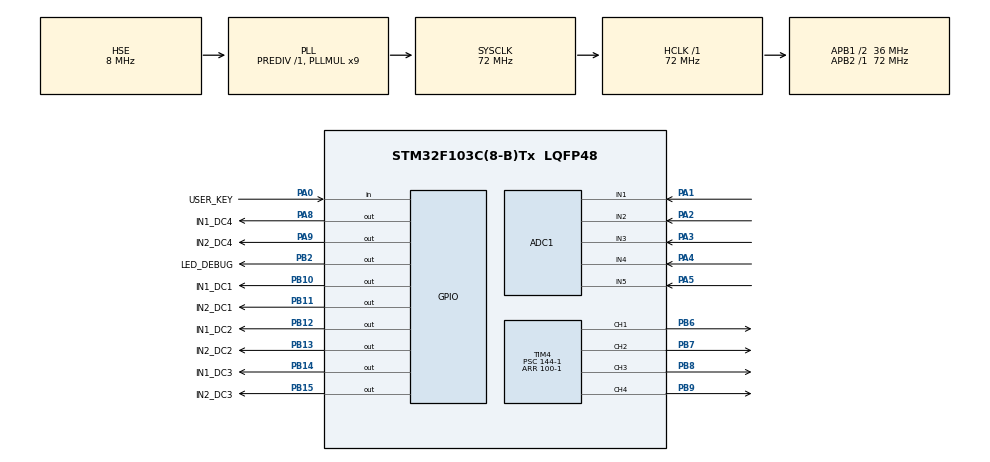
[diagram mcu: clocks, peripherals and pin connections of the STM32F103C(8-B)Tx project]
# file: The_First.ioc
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ADC1.Channel-0\#ChannelRegularConversion=ADC_CHANNEL_1
ADC1.Channel-1\#ChannelRegularConversion=ADC_CHANNEL_2
ADC1.Channel-2\#ChannelRegularConversion=ADC_CHANNEL_3
ADC1.Channel-3\#ChannelRegularConversion=ADC_CHANNEL_4
ADC1.Channel-4\#ChannelRegularConversion=ADC_CHANNEL_5
ADC1.NbrOfConversion=5
ADC1.NbrOfConversionFlag=1
ADC1.Rank-0\#ChannelRegularConversion=1
ADC1.Rank-1\#ChannelRegularConversion=2
ADC1.Rank-2\#ChannelRegularConversion=3
ADC1.Rank-3\#ChannelRegularConversion=4
ADC1.Rank-4\#ChannelRegularConversion=5
ADC1.SamplingTime-0\#ChannelRegularConversion=ADC_SAMPLETIME_28CYCLES_5
ADC1.SamplingTime-1\#ChannelRegularConversion=ADC_SAMPLETIME_28CYCLES_5
ADC1.SamplingTime-2\#ChannelRegularConversion=ADC_SAMPLETIME_28CYCLES_5
ADC1.SamplingTime-3\#ChannelRegularConversion=ADC_SAMPLETIME_28CYCLES_5
ADC1.SamplingTime-4\#ChannelRegularConversion=ADC_SAMPLETIME_28CYCLES_5
ADC1.master=1
Dma.ADC1.0.Direction=DMA_PERIPH_TO_MEMORY
Dma.ADC1.0.Instance=DMA1_Channel1
Dma.ADC1.0.MemDataAlignment=DMA_MDATAALIGN_HALFWORD
Dma.ADC1.0.MemInc=DMA_MINC_ENABLE
Dma.ADC1.0.Mode=DMA_CIRCULAR
Dma.ADC1.0.PeriphDataAlignment=DMA_PDATAALIGN_HALFWORD
Dma.ADC1.0.PeriphInc=DMA_PINC_DISABLE
Dma.ADC1.0.Priority=DMA_PRIORITY_LOW
Dma.Request0=ADC1
Mcu.Family=STM32F1
Mcu.Name=STM32F103C(8-B)Tx
Mcu.Package=LQFP48
NVIC.DMA1_Channel1_IRQn=true\:0\:0\:false\:false\:true\:false\:true
NVIC.PriorityGroup=NVIC_PRIORITYGROUP_4
NVIC.TIM2_IRQn=true\:0\:0\:false\:false\:true\:true\:true
PA0-WKUP.GPIO_Label=USER_KEY
PA0-WKUP.GPIO_PuPd=GPIO_PULLDOWN
PA0-WKUP.Signal=GPIO_Input
PA1.Signal=ADCx_IN1
PA13.Mode=Serial_Wire
PA13.Signal=SYS_JTMS-SWDIO
PA14.Mode=Serial_Wire
PA14.Signal=SYS_JTCK-SWCLK
PA2.Signal=ADCx_IN2
PA3.Signal=ADCx_IN3
PA4.Signal=ADCx_IN4
PA5.Signal=ADCx_IN5
PA8.GPIO_Label=IN1_DC4
PA8.Signal=GPIO_Output
PA9.GPIO_Label=IN2_DC4
PA9.Signal=GPIO_Output
PB10.GPIO_Label=IN1_DC1
PB10.Signal=GPIO_Output
PB11.GPIO_Label=IN2_DC1
PB11.Signal=GPIO_Output
PB12.GPIO_Label=IN1_DC2
PB12.Signal=GPIO_Output
PB13.GPIO_Label=IN2_DC2
PB13.Signal=GPIO_Output
PB14.GPIO_Label=IN1_DC3
PB14.Signal=GPIO_Output
PB15.GPIO_Label=IN2_DC3
PB15.Signal=GPIO_Output
PB2.GPIO_Label=LED_DEBUG
PB2.Signal=GPIO_Output
PB6.Signal=S_TIM4_CH1
PB7.Signal=S_TIM4_CH2
PB8.Signal=S_TIM4_CH3
PB9.Signal=S_TIM4_CH4
PD0-OSC_IN.Mode=HSE-External-Oscillator
PD0-OSC_IN.Signal=RCC_OSC_IN
PD1-OSC_OUT.Mode=HSE-External-Oscillator
PD1-OSC_OUT.Signal=RCC_OSC_OUT
ProjectManager.HeapSize=0x200
ProjectManager.StackSize=0x400
ProjectManager.TargetToolchain=STM32CubeIDE
RCC.ADCPresc=RCC_ADCPCLK2_DIV6
RCC.AHBFreq_Value=72000000
RCC.APB1CLKDivider=RCC_HCLK_DIV2
RCC.APB1Freq_Value=36000000
RCC.APB1TimFreq_Value=72000000
RCC.APB2Freq_Value=72000000
RCC.APB2TimFreq_Value=72000000
RCC.HCLKFreq_Value=72000000
RCC.PLLMUL=RCC_PLL_MUL9
RCC.PLLSourceVirtual=RCC_PLLSOURCE_HSE
RCC.SYSCLKFreq_VALUE=72000000
RCC.SYSCLKSource=RCC_SYSCLKSOURCE_PLLCLK
RCC.USBFreq_Value=72000000
SH.ADCx_IN1.0=ADC1_IN1,IN1
SH.ADCx_IN2.0=ADC1_IN2,IN2
SH.ADCx_IN3.0=ADC1_IN3,IN3
SH.ADCx_IN4.0=ADC1_IN4,IN4
SH.ADCx_IN5.0=ADC1_IN5,IN5
SH.S_TIM4_CH1.0=TIM4_CH1,PWM Generation1 CH1
SH.S_TIM4_CH2.0=TIM4_CH2,PWM Generation2 CH2
SH.S_TIM4_CH3.0=TIM4_CH3,PWM Generation3 CH3
SH.S_TIM4_CH4.0=TIM4_CH4,PWM Generation4 CH4
TIM2.Period=100-1
TIM2.Prescaler=720-1
TIM4.Channel-PWM\ Generation1\ CH1=TIM_CHANNEL_1
TIM4.Channel-PWM\ Generation2\ CH2=TIM_CHANNEL_2
TIM4.Channel-PWM\ Generation3\ CH3=TIM_CHANNEL_3
TIM4.Channel-PWM\ Generation4\ CH4=TIM_CHANNEL_4
TIM4.Period=100-1
TIM4.Prescaler=144-1
VP_TIM2_VS_ClockSourceINT.Mode=Internal
VP_TIM4_VS_ClockSourceINT.Mode=Internal
board=custom

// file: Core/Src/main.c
/* USER CODE BEGIN Header */
/**
  ******************************************************************************
  * @file           : main.c
  * @brief          : Main program body
  ******************************************************************************
  * @attention
  *
  * <h2><center>&copy; Copyright (c) 6024 STMicroelectronics.
  * All rights reserved.</center></h2>
  *
  * This software component is licensed by ST under BSD 3-Clause license,
  * the "License"; You may not use this file except in compliance with the
  * License. You may obtain a copy of the License at:
  *                        opensource.org/licenses/BSD-3-Clause
  *
  ******************************************************************************
  */
/* USER CODE END Header */
#include "main.h"

/* USER CODE BEGIN Includes */
#include "software_timer.h"
#include "move_driver.h"
/* USER CODE END Includes */

/* USER CODE BEGIN PM */
#define		ERROR_RANGE		100

#define		CALIB			90
#define 	FORWARD_1 		100
#define 	FORWARD_2 		101
#define 	FORWARD_3 		102
#define 	READYSTEP2		103
#define 	TURNLEFT		104
#define 	TURNRIGHT		105
#define 	FORWARD			106
#define 	BACKWARD		107
#define 	STOP			108
#define 	READYLEFT		109
#define 	READYRIGHT		110
#define 	READYFORWARD	111
#define 	READYBACKWARDS	112
#define 	READYBACKWARDS2	117
#define 	ENDLEFT			113
#define 	ENDRIGHT		114
#define 	ENDWARDS		115
#define 	START			116
#define 	ENDBACK			118

/* USER CODE END PM */

ADC_HandleTypeDef hadc1;
DMA_HandleTypeDef hdma_adc1;

TIM_HandleTypeDef htim2;
TIM_HandleTypeDef htim4;

/* USER CODE BEGIN PV */
uint8_t status = CALIB;
uint8_t temp_status = FORWARD_1;
//uint8_t temp_status = FORWARD_1;
uint8_t step = 0;
uint8_t count = 0;
uint8_t arr[50] = "FRFLFRFRFFRFFR\0";
uint8_t index = 0;
uint16_t sensor_value[5];
uint16_t sensor_calib[5];
int sensor_buffer = 0;
int led_count = 0;
int led_cycle = 25;
int button_count = 0;
/* USER CODE END PV */

void SystemClock_Config(void);
static void MX_GPIO_Init(void);
static void MX_DMA_Init(void);
static void MX_ADC1_Init(void);
static void MX_TIM2_Init(void);
static void MX_TIM4_Init(void);
/* USER CODE BEGIN PFP */
void buttonScan();
void sensorScan();
void ledBlink();
uint8_t checkLine();
uint8_t checkStatus();
void sensorCalib();
void lineSet();
void test();
/* USER CODE END PFP */

int main(void)
{

  /* MCU Configuration--------------------------------------------------------*/

  /* Reset of all peripherals, Initializes the Flash interface and the Systick. */
  HAL_Init();

  /* Configure the system clock */
  SystemClock_Config();

  /* Initialize all configured peripherals */
  MX_GPIO_Init();
  MX_DMA_Init();
  MX_ADC1_Init();
  MX_TIM2_Init();
  MX_TIM4_Init();
  /* USER CODE BEGIN 2 */
  HAL_TIM_Base_Start_IT(&htim2);
  HAL_TIM_PWM_Start(&htim4, TIM_CHANNEL_1);
  HAL_TIM_PWM_Start(&htim4, TIM_CHANNEL_2);
  HAL_TIM_PWM_Start(&htim4, TIM_CHANNEL_3);
  HAL_TIM_PWM_Start(&htim4, TIM_CHANNEL_4);
  /* USER CODE END 2 */

  /* Infinite loop */
  /* USER CODE BEGIN WHILE */
  setTimer(1,10);
  while (1)
  {
	  if(timer_flag[1]){
		  setTimer(1,10);
		  buttonScan();
//		  sensorScan();
		  checkLine();
		  lineSet();
//		  forward();
//		  backwards();
		  ledBlink();
	  }
    /* USER CODE END WHILE */

  }
}

void SystemClock_Config(void)
{
  RCC_OscInitTypeDef RCC_OscInitStruct = {0};
  RCC_ClkInitTypeDef RCC_ClkInitStruct = {0};
  RCC_PeriphCLKInitTypeDef PeriphClkInit = {0};

  /** Initializes the RCC Oscillators according to the specified parameters
  * in the RCC_OscInitTypeDef structure.
  */
  RCC_OscInitStruct.OscillatorType = RCC_OSCILLATORTYPE_HSE;
  RCC_OscInitStruct.HSEState = RCC_HSE_ON;
  RCC_OscInitStruct.HSEPredivValue = RCC_HSE_PREDIV_DIV1;
  RCC_OscInitStruct.HSIState = RCC_HSI_ON;
  RCC_OscInitStruct.PLL.PLLState = RCC_PLL_ON;
  RCC_OscInitStruct.PLL.PLLSource = RCC_PLLSOURCE_HSE;
  RCC_OscInitStruct.PLL.PLLMUL = RCC_PLL_MUL9;
  if (HAL_RCC_OscConfig(&RCC_OscInitStruct) != HAL_OK)
  {
    Error_Handler();
  }
  /** Initializes the CPU, AHB and APB buses clocks
  */
  RCC_ClkInitStruct.ClockType = RCC_CLOCKTYPE_HCLK|RCC_CLOCKTYPE_SYSCLK
                              |RCC_CLOCKTYPE_PCLK1|RCC_CLOCKTYPE_PCLK2;
  RCC_ClkInitStruct.SYSCLKSource = RCC_SYSCLKSOURCE_PLLCLK;
  RCC_ClkInitStruct.AHBCLKDivider = RCC_SYSCLK_DIV1;
  RCC_ClkInitStruct.APB1CLKDivider = RCC_HCLK_DIV2;
  RCC_ClkInitStruct.APB2CLKDivider = RCC_HCLK_DIV1;

  if (HAL_RCC_ClockConfig(&RCC_ClkInitStruct, FLASH_LATENCY_2) != HAL_OK)
  {
    Error_Handler();
  }
  PeriphClkInit.PeriphClockSelection = RCC_PERIPHCLK_ADC;
  PeriphClkInit.AdcClockSelection = RCC_ADCPCLK2_DIV6;
  if (HAL_RCCEx_PeriphCLKConfig(&PeriphClkInit) != HAL_OK)
  {
    Error_Handler();
  }
}

static void MX_ADC1_Init(void)
{

  ADC_ChannelConfTypeDef sConfig = {0};

  /** Common config
  */
  hadc1.Instance = ADC1;
  hadc1.Init.ScanConvMode = ADC_SCAN_ENABLE;
  hadc1.Init.ContinuousConvMode = DISABLE;
  hadc1.Init.DiscontinuousConvMode = DISABLE;
  hadc1.Init.ExternalTrigConv = ADC_SOFTWARE_START;
  hadc1.Init.DataAlign = ADC_DATAALIGN_RIGHT;
  hadc1.Init.NbrOfConversion = 5;
  if (HAL_ADC_Init(&hadc1) != HAL_OK)
  {
    Error_Handler();
  }
  /** Configure Regular Channel
  */
  sConfig.Channel = ADC_CHANNEL_1;
  sConfig.Rank = ADC_REGULAR_RANK_1;
  sConfig.SamplingTime = ADC_SAMPLETIME_28CYCLES_5;
  if (HAL_ADC_ConfigChannel(&hadc1, &sConfig) != HAL_OK)
  {
    Error_Handler();
  }
  /** Configure Regular Channel
  */
  sConfig.Channel = ADC_CHANNEL_2;
  sConfig.Rank = ADC_REGULAR_RANK_2;
  if (HAL_ADC_ConfigChannel(&hadc1, &sConfig) != HAL_OK)
  {
    Error_Handler();
  }
  /** Configure Regular Channel
  */
  sConfig.Channel = ADC_CHANNEL_3;
  sConfig.Rank = ADC_REGULAR_RANK_3;
  if (HAL_ADC_ConfigChannel(&hadc1, &sConfig) != HAL_OK)
  {
    Error_Handler();
  }
  /** Configure Regular Channel
  */
  sConfig.Channel = ADC_CHANNEL_4;
  sConfig.Rank = ADC_REGULAR_RANK_4;
  if (HAL_ADC_ConfigChannel(&hadc1, &sConfig) != HAL_OK)
  {
    Error_Handler();
  }
  /** Configure Regular Channel
  */
  sConfig.Channel = ADC_CHANNEL_5;
  sConfig.Rank = ADC_REGULAR_RANK_5;
  if (HAL_ADC_ConfigChannel(&hadc1, &sConfig) != HAL_OK)
  {
    Error_Handler();
  }

}

static void MX_TIM2_Init(void)
{

  TIM_ClockConfigTypeDef sClockSourceConfig = {0};
  TIM_MasterConfigTypeDef sMasterConfig = {0};

  htim2.Instance = TIM2;
  htim2.Init.Prescaler = 720-1;
  htim2.Init.CounterMode = TIM_COUNTERMODE_UP;
  htim2.Init.Period = 100-1;
  htim2.Init.ClockDivision = TIM_CLOCKDIVISION_DIV1;
  htim2.Init.AutoReloadPreload = TIM_AUTORELOAD_PRELOAD_DISABLE;
  if (HAL_TIM_Base_Init(&htim2) != HAL_OK)
  {
    Error_Handler();
  }
  sClockSourceConfig.ClockSource = TIM_CLOCKSOURCE_INTERNAL;
  if (HAL_TIM_ConfigClockSource(&htim2, &sClockSourceConfig) != HAL_OK)
  {
    Error_Handler();
  }
  sMasterConfig.MasterOutputTrigger = TIM_TRGO_RESET;
  sMasterConfig.MasterSlaveMode = TIM_MASTERSLAVEMODE_DISABLE;
  if (HAL_TIMEx_MasterConfigSynchronization(&htim2, &sMasterConfig) != HAL_OK)
  {
    Error_Handler();
  }

}

static void MX_TIM4_Init(void)
{

  TIM_ClockConfigTypeDef sClockSourceConfig = {0};
  TIM_MasterConfigTypeDef sMasterConfig = {0};
  TIM_OC_InitTypeDef sConfigOC = {0};

  htim4.Instance = TIM4;
  htim4.Init.Prescaler = 144-1;
  htim4.Init.CounterMode = TIM_COUNTERMODE_UP;
  htim4.Init.Period = 100-1;
  htim4.Init.ClockDivision = TIM_CLOCKDIVISION_DIV1;
  htim4.Init.AutoReloadPreload = TIM_AUTORELOAD_PRELOAD_DISABLE;
  if (HAL_TIM_Base_Init(&htim4) != HAL_OK)
  {
    Error_Handler();
  }
  sClockSourceConfig.ClockSource = TIM_CLOCKSOURCE_INTERNAL;
  if (HAL_TIM_ConfigClockSource(&htim4, &sClockSourceConfig) != HAL_OK)
  {
    Error_Handler();
  }
  if (HAL_TIM_PWM_Init(&htim4) != HAL_OK)
  {
    Error_Handler();
  }
  sMasterConfig.MasterOutputTrigger = TIM_TRGO_RESET;
  sMasterConfig.MasterSlaveMode = TIM_MASTERSLAVEMODE_DISABLE;
  if (HAL_TIMEx_MasterConfigSynchronization(&htim4, &sMasterConfig) != HAL_OK)
  {
    Error_Handler();
  }
  sConfigOC.OCMode = TIM_OCMODE_PWM1;
  sConfigOC.Pulse = 0;
  sConfigOC.OCPolarity = TIM_OCPOLARITY_HIGH;
  sConfigOC.OCFastMode = TIM_OCFAST_DISABLE;
  if (HAL_TIM_PWM_ConfigChannel(&htim4, &sConfigOC, TIM_CHANNEL_1) != HAL_OK)
  {
    Error_Handler();
  }
  if (HAL_TIM_PWM_ConfigChannel(&htim4, &sConfigOC, TIM_CHANNEL_2) != HAL_OK)
  {
    Error_Handler();
  }
  if (HAL_TIM_PWM_ConfigChannel(&htim4, &sConfigOC, TIM_CHANNEL_3) != HAL_OK)
  {
    Error_Handler();
  }
  if (HAL_TIM_PWM_ConfigChannel(&htim4, &sConfigOC, TIM_CHANNEL_4) != HAL_OK)
  {
    Error_Handler();
  }
  HAL_TIM_MspPostInit(&htim4);

}

static void MX_DMA_Init(void)
{

  /* DMA controller clock enable */
  __HAL_RCC_DMA1_CLK_ENABLE();

  /* DMA interrupt init */
  /* DMA1_Channel1_IRQn interrupt configuration */
  HAL_NVIC_SetPriority(DMA1_Channel1_IRQn, 0, 0);
  HAL_NVIC_EnableIRQ(DMA1_Channel1_IRQn);

}

static void MX_GPIO_Init(void)
{
  GPIO_InitTypeDef GPIO_InitStruct = {0};

  /* GPIO Ports Clock Enable */
  __HAL_RCC_GPIOD_CLK_ENABLE();
  __HAL_RCC_GPIOA_CLK_ENABLE();
  __HAL_RCC_GPIOB_CLK_ENABLE();

  /*Configure GPIO pin Output Level */
  HAL_GPIO_WritePin(GPIOB, LED_DEBUG_Pin|IN1_DC1_Pin|IN2_DC1_Pin|IN1_DC2_Pin
                          |IN2_DC2_Pin|IN1_DC3_Pin|IN2_DC3_Pin, GPIO_PIN_RESET);

  /*Configure GPIO pin Output Level */
  HAL_GPIO_WritePin(GPIOA, IN1_DC4_Pin|IN2_DC4_Pin, GPIO_PIN_RESET);

  /*Configure GPIO pin : USER_KEY_Pin */
  GPIO_InitStruct.Pin = USER_KEY_Pin;
  GPIO_InitStruct.Mode = GPIO_MODE_INPUT;
  GPIO_InitStruct.Pull = GPIO_PULLDOWN;
  HAL_GPIO_Init(USER_KEY_GPIO_Port, &GPIO_InitStruct);

  /*Configure GPIO pins : LED_DEBUG_Pin IN1_DC1_Pin IN2_DC1_Pin IN1_DC2_Pin
                           IN2_DC2_Pin IN1_DC3_Pin IN2_DC3_Pin */
  GPIO_InitStruct.Pin = LED_DEBUG_Pin|IN1_DC1_Pin|IN2_DC1_Pin|IN1_DC2_Pin
                          |IN2_DC2_Pin|IN1_DC3_Pin|IN2_DC3_Pin;
  GPIO_InitStruct.Mode = GPIO_MODE_OUTPUT_PP;
  GPIO_InitStruct.Pull = GPIO_NOPULL;
  GPIO_InitStruct.Speed = GPIO_SPEED_FREQ_LOW;
  HAL_GPIO_Init(GPIOB, &GPIO_InitStruct);

  /*Configure GPIO pins : IN1_DC4_Pin IN2_DC4_Pin */
  GPIO_InitStruct.Pin = IN1_DC4_Pin|IN2_DC4_Pin;
  GPIO_InitStruct.Mode = GPIO_MODE_OUTPUT_PP;
  GPIO_InitStruct.Pull = GPIO_NOPULL;
  GPIO_InitStruct.Speed = GPIO_SPEED_FREQ_LOW;
  HAL_GPIO_Init(GPIOA, &GPIO_InitStruct);

}

/* USER CODE BEGIN 4 */
void HAL_TIM_PeriodElapsedCallback ( TIM_HandleTypeDef * htim ){
	timerRun(1);
}

void buttonScan(){
	if(HAL_GPIO_ReadPin(USER_KEY_GPIO_Port, USER_KEY_Pin) == 1) button_count++;
	else button_count = 0;
}

void sensorScan(){
	HAL_ADC_Start_DMA(&hadc1, sensor_value, 5);
	sensor_buffer = 0;
	for(int i = 0; i < 5; i++){
		sensor_buffer = sensor_buffer << 1;
//		if(sensor_value[i] > sensor_calib[i] - ERROR_RANGE && sensor_value[i] < sensor_calib[i] + ERROR_RANGE) sensor_buffer++;
		if((sensor_value[i] > sensor_calib[i] - ERROR_RANGE) && (sensor_value[i] < sensor_calib[i] + ERROR_RANGE)) sensor_buffer++;
	}
}

void ledBlink(){
	led_count++;
	if(led_count >= led_cycle) {
		led_count = 0;
		HAL_GPIO_TogglePin(LED_DEBUG_GPIO_Port, LED_DEBUG_Pin);
	}
}

//uint8_t checkLine(){
////	uint8_t check;
////	check = (HAL_GPIO_ReadPin(S1_GPIO_Port, S1_Pin) == 0) + (HAL_GPIO_ReadPin(S2_GPIO_Port, S2_Pin) == 0) + (HAL_GPIO_ReadPin(S3_GPIO_Port, S3_Pin) == 0)
////			+ (HAL_GPIO_ReadPin(S4_GPIO_Port, S4_Pin) == 0) + (HAL_GPIO_ReadPin(S5_GPIO_Port, S5_Pin) == 0);
////	return sensor_buffer == 0b111 || sensor_buffer == 0b101 || sensor_buffer == 0b110 || sensor_buffer == 0b011;
//	uint8_t result = 0;
//		for(int i = 0; i < 5; i++){
//			if((sensor_buffer & (1u << i)) != 0) result++;	// i là 0 1 2 3 4, ex: abcde & 00100 = 00c00
//			//&& trả v�? true or false, & so bitwise rồi chuyển từ nhị phân lại thập phân
//		}
//	return result;
//}

#define LINE_CENTER	0
#define LINE_CROSS	1
#define LINE_ERROR	2
#define LINE_LEFT	3
#define LINE_RIGHT	4

uint8_t line_code = 0;
uint8_t checkLine(){
	sensorScan();
	switch (sensor_buffer) {
		case 0b00000:
			line_code = LINE_ERROR;
			break;
		case 0b11111:
		case 0b11110:
		case 0b01111:
		case 0b01010:
		case 0b11011:
			line_code = LINE_CROSS;
			break;
		case 0b00100:
		case 0b01110:
			line_code = LINE_CENTER;
			break;

		case 0b11100:
		case 0b11000:
		case 0b10000:
		case 0b01100:
		case 0b01000:
			line_code = LINE_LEFT;
			break;

		case 0b00111:
		case 0b00011:
		case 0b00001:
		case 0b00110:
		case 0b00010:
			line_code = LINE_RIGHT;
			break;
		default:
			line_code = LINE_ERROR;
			break;
	}
	return 0;
}

uint8_t checkStatus(){
	index++;
	if(arr[index-1] == '\0')
		return STOP;
	if(arr[index-1] == 'L')
		return TURNLEFT;
	if(arr[index-1] == 'R')
		return TURNRIGHT;
	if(arr[index-1] == 'F')
		return FORWARD;
	if(arr[index-1] == 'B')
		return READYBACKWARDS;
	return 0;
}

void sensorCalib(){
	for(int i = 0; i < 5; i++){
		sensor_calib[i] = sensor_value[i];
	}
}

void followLine(){
	switch (line_code) {
		case LINE_ERROR:
			forward();
			break;
		case LINE_CENTER:
			forward();
			break;
		case LINE_RIGHT:
			rotateRight();
			break;
		case LINE_LEFT:
			rotateLeft();
			break;
		case LINE_CROSS:
			stop();
			break;
		default:
			break;
	}
}

int status_follow = 0;
int followLineUntilCross(){
//	 status = 1
//	        count = 0
//
//	        while True:
//	            line_state = self._line_sensor.check()
//
//	            if status == 1:
//	                if line_state != LINE_CROSS:
//	                    status = 2
//	            elif status == 2:
//	                if line_state == LINE_CROSS:
//	                    count = count + 1
//	                    if count == 2:
//	                        break
//
//	            await self.follow_line(True, line_state)
//
//	            if status == 2 and count == 1:
//	                await asleep_ms(20)
//	            else:
//	                await asleep_ms(10)
//
//	        #await self.forward_for(0.1, unit=SECOND) # to pass cross line a bit
//	        await self.stop_then(then)
	if(status_follow == 0){
		if(line_code != LINE_CROSS) status_follow = 1;
	} else if(status_follow == 1){
		if(line_code == LINE_CROSS) {
			stop();
			return 1;
		}
	}
	followLine();
	return 0;
}

int status_turn_left = 0;
int turnLeftUntilLine(){
	rotateLeft();
	if(status_turn_left == 0){
		if(line_code != LINE_CENTER) status_turn_left = 1;
	} else if(status_turn_left == 1){
		if(line_code == LINE_LEFT) {
			status_turn_left = 0;
			stop();
			return 1;
		}
	}
	return 0;
}

int status_turn_right = 0;
int turnRightUntilLine(){
	rotateRight();
	if(status_turn_right == 0){
		if(line_code != LINE_CENTER) status_turn_right = 1;
	} else if(status_turn_right == 1){
		if(line_code == LINE_RIGHT) {
			status_turn_right = 0;
			stop();
			return 1;
		}
	}

	return 0;
}

#define GET_STATUS	21
void lineSet(){
	switch(status) {
		case CALIB:
			if(button_count == 100){
				sensorCalib();
				led_cycle = 100;
				status = START;
			}
			break;
		case GET_STATUS:
			if(count > 0) count--;
			if(count == 0){
				status = checkStatus();
			}
			break;
		case START:
			if(button_count == 1){
				index = 0;
				status = GET_STATUS;
//				status = FOLLOW;
			}
			break;
		case FORWARD:
			if(followLineUntilCross() == 1) {
				status = GET_STATUS;
				count = 100;
			}
//			if(checkLine() == LINE_CENTER)
//			forward();
//			if(checkLine() == LINE_CENTER){
//				status = ENDWARDS;
//				stop();
//				count = 20;
//			}
			break;
		case READYBACKWARDS:
			backwards();
			if(checkLine() >= 3){
				status = READYBACKWARDS2;
			}
			break;
		case READYBACKWARDS2:
			backwards();
			if(checkLine() < 2){
				status = BACKWARD;
				stop();
			}
			break;
		case BACKWARD:
			backwards();
			if(checkLine() >= 3){
				status = ENDBACK;
				stop();
				count = 20;
			}
			break;
		case ENDBACK:
			count--;
			if(count <= 0){
				if(checkLine() >= 3){
					status = ENDWARDS;
					stop();
					count = 20;
				}
				if(checkLine() < 3){
					status = FORWARD;
				}
			}
			break;
		case ENDWARDS:
			count--;
			if(count <= 0){
				if(checkLine() >= 3)
					forward();
				else{
					stop();
					status = checkStatus();
				}
			}
			break;
		case TURNLEFT:
//			left();
//			if(sensor_buffer == 0b10000){
//				status = ENDLEFT;
//			}
			if(turnLeftUntilLine() == 1) {
				status = GET_STATUS;
				count = 100;
			}
			break;
		case ENDLEFT:
			left();
			if(sensor_buffer == 0b00100){
				stop();
				status = checkStatus();
			}
			break;
		case TURNRIGHT:
//			right();
//			if(sensor_buffer == 0b00001){
//				status = ENDRIGHT;
//			}
			if(turnRightUntilLine() == 1) {
				status = GET_STATUS;
				count = 100;
			}
			break;
		case ENDRIGHT:
			right();
			if(sensor_buffer == 0b00100){
				stop();
				status = checkStatus();
			}
			break;
		case STOP:
			stop();
			break;
		default:
			status = FORWARD_1;
			break;
	}
}

//void lineSet(){
//	switch(status) {
//		case FOLLOW:
//			followLine();
//			break;
//		case CALIB:
//			if(button_count == 100){
//				sensorCalib();
//				led_cycle = 100;
//				status = START;
//			}
//			break;
//		case START:
//			if(button_count == 1){
//				index = 0;
////				status = checkStatus();
//				status = FOLLOW;
//			}
//			break;
//		case FORWARD:
//			if(checkLine() == LINE_CENTER)
//			forward();
//			if(checkLine() == LINE_CENTER){
//				status = ENDWARDS;
//				stop();
//				count = 20;
//			}
//			break;
//		case READYBACKWARDS:
//			backwards();
//			if(checkLine() >= 3){
//				status = READYBACKWARDS2;
//			}
//			break;
//		case READYBACKWARDS2:
//			backwards();
//			if(checkLine() < 2){
//				status = BACKWARD;
//				stop();
//			}
//			break;
//		case BACKWARD:
//			backwards();
//			if(checkLine() >= 3){
//				status = ENDBACK;
//				stop();
//				count = 20;
//			}
//			break;
//		case ENDBACK:
//			count--;
//			if(count <= 0){
//				if(checkLine() >= 3){
//					status = ENDWARDS;
//					stop();
//					count = 20;
//				}
//				if(checkLine() < 3){
//					status = FORWARD;
//				}
//			}
//			break;
//		case ENDWARDS:
//			count--;
//			if(count <= 0){
//				if(checkLine() >= 3)
//					forward();
//				else{
//					stop();
//					status = checkStatus();
//				}
//			}
//			break;
//		case TURNLEFT:
//			left();
////			if(HAL_GPIO_ReadPin(S1_GPIO_Port, S1_Pin) == 1)
//			if(sensor_buffer == 0b10000){
//				status = ENDLEFT;
//			}
//			break;
//		case ENDLEFT:
//			left();
//			if(sensor_buffer == 0b00100){
//				stop();
//				status = checkStatus();
//			}
//			break;
//		case TURNRIGHT:
//			right();
//			if(sensor_buffer == 0b00001){
//				status = ENDRIGHT;
//			}
//			break;
//		case ENDRIGHT:
//			right();
//			if(sensor_buffer == 0b00100){
//				stop();
//				status = checkStatus();
//			}
//			break;
//		case STOP:
//			stop();
//			break;
//		default:
//			status = FORWARD_1;
//			break;
//	}
//}

void test(){
	dc1Forward(50);
	HAL_Delay(1000);
	dc2Forward(50);
	HAL_Delay(1000);
	dc3Forward(50);
	HAL_Delay(1000);
	dc4Forward(50);
	HAL_Delay(1000);
	stop();
	HAL_Delay(1000);
}
/* USER CODE END 4 */

void Error_Handler(void)
{
  __disable_irq();
  while (1)
  {
  }
}

/************************ (C) COPYRIGHT STMicroelectronics *****END OF FILE****/
